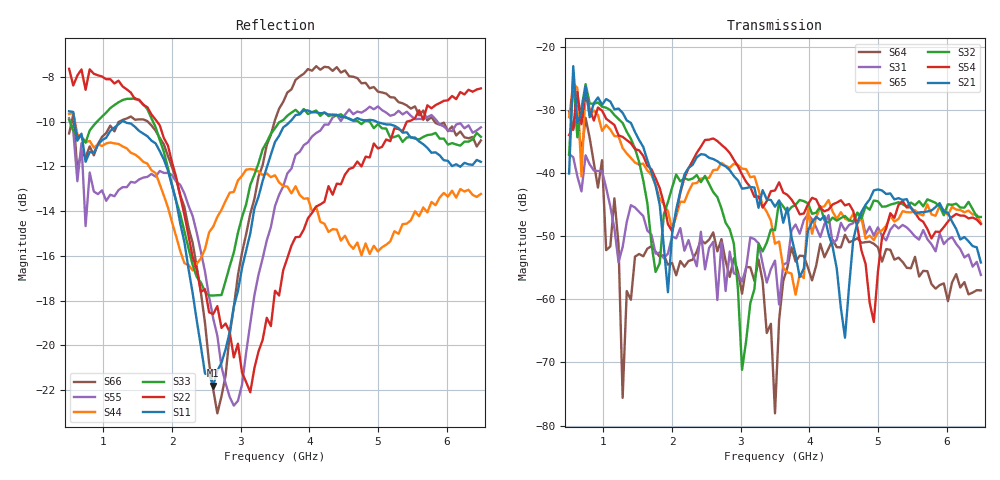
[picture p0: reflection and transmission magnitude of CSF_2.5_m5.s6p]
!Keysight Technologies,M9804A,MY58100912,A.14.10.03
!Date: Thursday, April 27, 2023 10:28:33
!Correction: S11(C  6-Port  )
!S12(C  6-Port  )
!S13(C  6-Port  )
!S14(C  6-Port  )
!S15(C  6-Port  )
!S16(C  6-Port  )
!S21(C  6-Port  )
!S22(C  6-Port  )
!S23(C  6-Port  )
!S24(C  6-Port  )
!S25(C  6-Port  )
!S26(C  6-Port  )
!S31(C  6-Port  )
!S32(C  6-Port  )
!S33(C  6-Port  )
!S34(C  6-Port  )
!S35(C  6-Port  )
!S36(C  6-Port  )
!S41(C  6-Port  )
!S42(C  6-Port  )
!S43(C  6-Port  )
!S44(C  6-Port  )
!S45(C  6-Port  )
!S46(C  6-Port  )
!S51(C  6-Port  )
!S52(C  6-Port  )
!S53(C  6-Port  )
!S54(C  6-Port  )
!S55(C  6-Port  )
!S56(C  6-Port  )
!S61(C  6-Port  )
!S62(C  6-Port  )
!S63(C  6-Port  )
!S64(C  6-Port  )
!S65(C  6-Port  )
!S66(C  6-Port  )
!S6P File: Measurement: :
# Hz S  RI  R 50
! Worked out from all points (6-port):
!   101 points, 500 MHz to 6.5 GHz, reference 50 ohm
!   strongest paths, dB at 500 MHz, 2 GHz, 3.5 GHz, 5 GHz, 6.5 GHz:
!     S21: -40.0, -49.7, -45.3, -42.6, -54.2
!     S54: -34.0, -49.2, -42.7, -55.6, -48.1
!     S32: -37.1, -42.3, -49.0, -44.5, -46.9
!     S65: -31.1, -48.9, -51.2, -49.4, -47.9
!     S31: -37.0, -50.0, -53.9, -48.6, -56.1
!     S64: -30.2, -54.2, -78.1, -51.8, -58.6
!   lowest |S11| = -21.8 dB at 2.6 GHz (marker M1), VSWR 1.18, Z = 42.7 + j1.94 ohm
!   |S11| at or under -10 dB: 580 MHz to 1.268 GHz (687.7 MHz wide, 74.4 % of centre); 1.301 GHz to 3.72 GHz (2.419 GHz wide, 96.4 % of centre); 4.976 GHz to end of sweep
